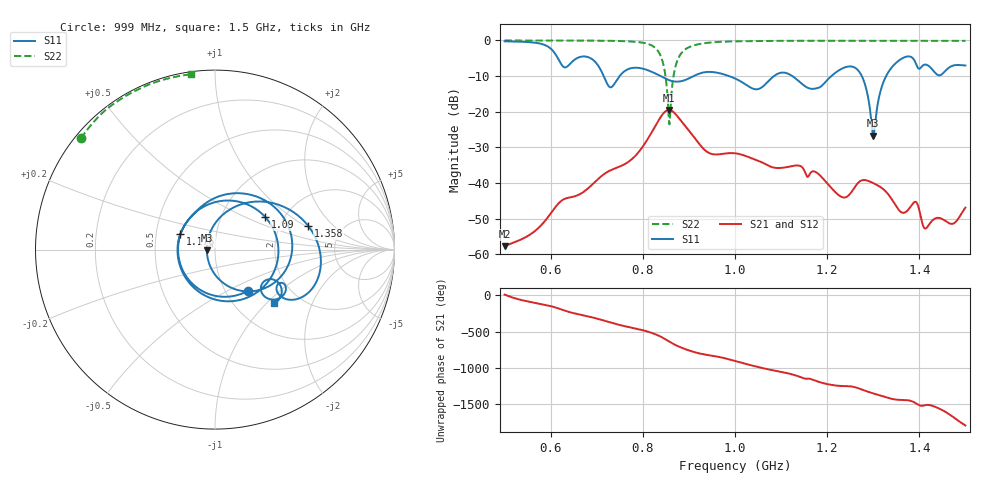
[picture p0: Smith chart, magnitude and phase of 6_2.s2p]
! TOUCHSTONE file generated by CST MICROWAVE STUDIO
! Date and time: Mon Nov 30 09:06:18 2020
! Project name: Scenario_1_Planar_Body_Tissue_Out_of_Line_v2.cst
! Parameters = {dy1=-259.5; L_HA=400; Ltissue=700; MT=2.54; Rad_Dielectric=30; Rad_Lower=7.3; Rad_Upper=30; Wtissue=700; a_HA=580; a_WG=246; b_HA=500; b_WG=121; c_HA=0; c_WG=187; d_feed=85; dx1=346; h_feed=15; h_lower=18; h_upper=40; hfat=3; hgap=25; hmuscle=50; hskin=1.5}
! Header version: 2018
! Port assignment regex: !\s*Touchstone port\s*([0-9]+)\s*=\s*(CST MWS port|CST DS port)\s*([0-9]+|Zmin|Zmax)\s*\(\"(.*)\"\)(\s*mode\s*([0-9]+))?.*
! Touchstone port assignment:
! Touchstone port 1 = CST MWS port 1 ("")
! Touchstone port 2 = CST MWS port 2 ("")
# GHz S DB R 50
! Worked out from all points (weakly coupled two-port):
!   1003 points, 500 MHz to 1.5 GHz, reference 50 ohm
!   highest |S21| = -19.51 dB at 857 MHz (marker M1); lowest = -57.8 dB at 500 MHz (marker M2)
!   lowest |S11| = -26.8 dB at 1.3 GHz (marker M3), VSWR 1.10, Z = 45.6 - j0.305 ohm
!   |S11| at or under -10 dB: 838.7 MHz to 910.3 MHz (71.63 MHz wide, 8.19 % of centre); 986.9 MHz to 1.085 GHz (97.79 MHz wide, 9.44 % of centre); 1.124 GHz to 1.209 GHz (84.79 MHz wide, 7.27 % of centre) (the widest 3 of 5)
!   |S22| runs from -23.6 to 0.0 dB; largest |S21 - S12| = 6.3e-05
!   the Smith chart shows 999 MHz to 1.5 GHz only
!   S11 on the Smith chart (normalised r, x): 999 MHz: 1.27, -0.64; 1.09 GHz: 1.61, +0.66; 1.176 GHz: 0.67, +0.12; 1.358 GHz: 2.86, +1.07; 1.5 GHz: 1.50, -1.11
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0.5  -0.24 -121.8  -57.77 10.3  -57.77 10.3  -0.01 151.1
0.578  -0.91 -164.7  -52.07 -118.9  -52.07 -118.9  -0.02 145.8
0.667  -4.54 156.1  -42.90 89.0  -42.90 89.0  -0.04 138.4
0.717  -10.59 33.3  -37.43 8.3  -37.43 8.3  -0.09 132.7
0.742  -11.44 -103.0  -35.81 -37.1  -35.81 -37.1  -0.14 128.9
0.771  -7.92 173.8  -33.87 -80.2  -33.87 -80.2  -0.28 122.9
0.834  -9.70 43.8  -22.47 164.1  -22.47 164.1  -3.19 83.2
0.857  -11.16 -13.9  -19.51 83.5  -19.51 83.5  -23.40 -29.2
0.895  -10.95 -131.2  -24.51 -29.1  -24.51 -29.1  -2.26 171.3
0.939  -8.86 87.0  -31.25 -100.6  -31.25 -100.6  -0.69 151.9
0.999  -10.62 -51.2  -31.67 176.6  -31.67 176.6  -0.26 140.3
1  -10.68 -53.4  -31.69 174.8  -31.69 174.8  -0.26 140.2
1.048  -13.72 173.4  -33.68 94.6  -33.68 94.6  -0.18 134.6
1.09  -9.54 32.9  -35.81 37.9  -35.81 37.9  -0.13 130.7
1.127  -10.24 -67.9  -35.20 -16.0  -35.20 -16.0  -0.10 127.4
1.167  -13.60 -178.9  -36.84 -80.1  -36.86 -80.1  -0.10 124.1
1.176  -13.47 155.7  -37.00 -101.2  -37.01 -101.2  -0.10 123.4
1.262  -7.79 -17.2  -40.81 170.1  -40.81 170.1  -0.09 116.9
1.3  -26.76 -175.8  -40.06 87.4  -40.06 87.4  -0.09 114.1
1.334  -8.67 46.6  -43.44 22.6  -43.44 22.6  -0.08 111.5
1.358  -5.43 14.4  -47.95 -2.1  -47.95 -2.1  -0.09 109.7
1.5  -7.04 -41.9  -46.94 5.6  -46.94 5.6  -0.13 98.0
